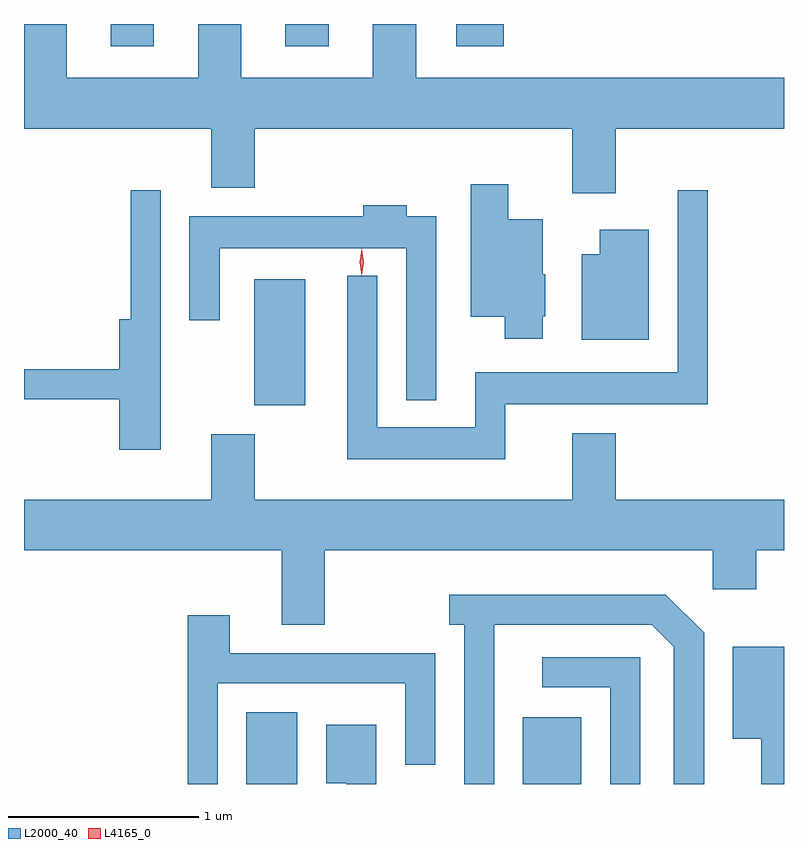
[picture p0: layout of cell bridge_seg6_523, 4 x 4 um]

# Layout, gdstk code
import gdstk
lib = gdstk.Library(unit=1e-6, precision=1e-09)
def R(c, l, rs):  # rectangles x0, y0, x1, y1
    for r in rs: c.add(gdstk.rectangle(r[:2], r[2:], *l))
def P(c, l, *ps):  # polygons
    for p in ps: c.add(gdstk.Polygon(p, *l))
L2000_40 = (2000, 40)
L4165_0 = (4165, 0)

bridge_seg6_523 = lib.new_cell('bridge_seg6_523')
R(bridge_seg6_523, L2000_40, [(427.606,1664.247,427.874,1664.624), (429.061,1664.247,429.369,1664.599), (427.646,1666.241,427.914,1666.904), (426.891,1668.131,427.119,1668.247), (427.811,1668.131,428.039,1668.247), (428.711,1668.131,428.959,1668.247)])
P(bridge_seg6_523, L2000_40, [(429.549,1667.696),(430.435,1667.696),(430.435,1667.964),(428.499,1667.964),(428.499,1668.247),(428.271,1668.247),(428.271,1667.964),(427.579,1667.964),(427.579,1668.247),(427.351,1668.247),(427.351,1667.964),(426.659,1667.964),(426.659,1668.247),(426.435,1668.247),(426.435,1667.696),(427.421,1667.696),(427.421,1667.386),(427.649,1667.386),(427.649,1667.696),(429.321,1667.696),(429.321,1667.356),(429.549,1667.356)],
  [(429.164,1666.71),(429.179,1666.71),(429.179,1666.93),(429.164,1666.93),(429.164,1667.219),(428.984,1667.219),(428.984,1667.404),(428.786,1667.404),(428.786,1666.706),(428.966,1666.706),(428.966,1666.591),(429.164,1666.591)],
  [(427.154,1667.373),(426.996,1667.373),(426.996,1666.694),(426.936,1666.694),(426.936,1666.429),(426.435,1666.429),(426.435,1666.271),(426.936,1666.271),(426.936,1666.006),(427.154,1666.006)],
  [(428.969,1666.246),(430.034,1666.246),(430.034,1667.373),(429.876,1667.373),(429.876,1666.414),(428.811,1666.414),(428.811,1666.124),(428.294,1666.124),(428.294,1666.923),(428.136,1666.923),(428.136,1665.956),(428.969,1665.956)],
  [(428.604,1667.234),(428.449,1667.234),(428.449,1667.294),(428.221,1667.294),(428.221,1667.234),(427.306,1667.234),(427.306,1666.688),(427.464,1666.688),(427.464,1667.066),(428.446,1667.066),(428.446,1666.268),(428.604,1666.268)],
  [(429.724,1667.164),(429.466,1667.164),(429.466,1667.034),(429.371,1667.034),(429.371,1666.586),(429.724,1666.586)],
  [(427.791,1665.086),(428.019,1665.086),(428.019,1665.476),(430.061,1665.476),(430.061,1665.271),(430.289,1665.271),(430.289,1665.476),(430.435,1665.476),(430.435,1665.744),(429.549,1665.744),(429.549,1666.094),(429.321,1666.094),(429.321,1665.744),(427.649,1665.744),(427.649,1666.089),(427.421,1666.089),(427.421,1665.744),(426.435,1665.744),(426.435,1665.476),(427.791,1665.476)],
  [(428.909,1665.086),(429.739,1665.086),(429.856,1664.969),(429.856,1664.247),(430.014,1664.247),(430.014,1665.042),(429.812,1665.244),(428.673,1665.244),(428.673,1665.086),(428.751,1665.086),(428.751,1664.247),(428.909,1664.247)],
  [(427.454,1664.776),(428.441,1664.776),(428.441,1664.348),(428.599,1664.348),(428.599,1664.934),(427.519,1664.934),(427.519,1665.134),(427.296,1665.134),(427.296,1664.247),(427.454,1664.247)],
  [(430.435,1664.969),(430.166,1664.969),(430.166,1664.486),(430.316,1664.486),(430.316,1664.247),(430.435,1664.247)],
  [(429.679,1664.914),(429.163,1664.914),(429.163,1664.756),(429.521,1664.756),(429.521,1664.247),(429.679,1664.247)],
  [(428.289,1664.559),(428.026,1664.559),(428.026,1664.251),(428.131,1664.251),(428.131,1664.247),(428.289,1664.247)])
P(bridge_seg6_523, L4165_0, [(428.212,1666.924),(428.203,1666.993),(428.212,1667.062),(428.213,1667.063),(428.213,1667.062),(428.223,1666.993),(428.213,1666.924),(428.213,1666.924)])

lib.write_gds('bridge_seg6_523.gds')
